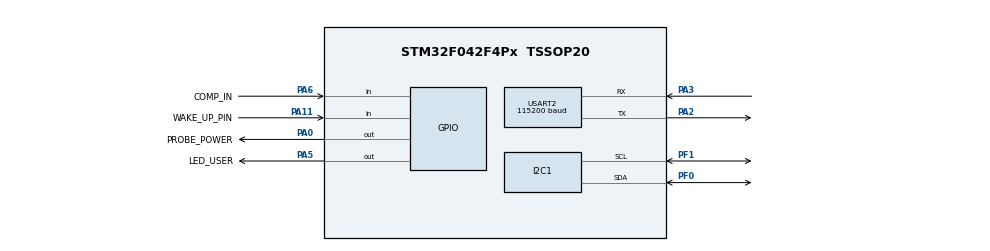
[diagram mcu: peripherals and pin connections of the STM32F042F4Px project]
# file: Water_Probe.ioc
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I2C1.I2C_Fall_Time=0
I2C1.I2C_Rise_Time=0
I2C1.Speed=40
I2C1.Timing=0x00103D84
Mcu.Family=STM32F0
Mcu.Name=STM32F042F4Px
Mcu.Package=TSSOP20
PA0.GPIO_Label=PROBE_POWER
PA0.Signal=GPIO_Output
PA11.GPIO_Label=WAKE_UP_PIN
PA11.Signal=GPIO_Input
PA13.Mode=Serial_Wire
PA13.Signal=SYS_SWDIO
PA14.Mode=Serial_Wire
PA14.Signal=SYS_SWCLK
PA2.Mode=Asynchronous
PA2.Signal=USART2_TX
PA3.Mode=Asynchronous
PA3.Signal=USART2_RX
PA5.GPIO_Label=LED_USER
PA5.Signal=GPIO_Output
PA6.GPIO_Label=COMP_IN
PA6.Signal=GPIO_Input
PF0-OSC_IN.Mode=I2C
PF0-OSC_IN.Signal=I2C1_SDA
PF1-OSC_OUT.Mode=I2C
PF1-OSC_OUT.Signal=I2C1_SCL
ProjectManager.HeapSize=0x200
ProjectManager.StackSize=0x400
ProjectManager.TargetToolchain=STM32CubeIDE
USART2.BaudRate=115200
USART2.VirtualMode-Asynchronous=VM_ASYNC
VP_SYS_VS_PINREMAP.Mode=PINREMAP
board=custom

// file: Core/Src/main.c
/* USER CODE BEGIN Header */
/**
  ******************************************************************************
  * @file           : main.c
  * @brief          : Main program body
  ******************************************************************************
  * @attention
  *
  * Copyright (c) 2024 STMicroelectronics.
  * All rights reserved.
  *
  * This software is licensed under terms that can be found in the LICENSE file
  * in the root directory of this software component.
  * If no LICENSE file comes with this software, it is provided AS-IS.
  *
  ******************************************************************************
  */
/* USER CODE END Header */
#include "main.h"

I2C_HandleTypeDef hi2c1;

UART_HandleTypeDef huart2;

/* USER CODE BEGIN PV */
/*
CAN_TxHeaderTypeDef   TxHeader;

CAN_FilterTypeDef canfilterconfig;

uint8_t               TxData[8];

uint32_t              TxMailbox;
*/
uint8_t				  buffer [10];

SHT4x_result	      results;

uint8_t buf[6];
	uint8_t command = HUMIDITY_COMMAND_HIGH_PRESS;
	SHT4x_result results;

	uint8_t checksum_t = 0;
	uint32_t t_ticks = 0;
	float t_degC = 0;
	float rh_pRH = 0;
	uint32_t rh_ticks = 0;
	uint8_t checksum_rh = 0;
	uint8_t ponor = 0;

/* USER CODE END PV */

void SystemClock_Config(void);
static void MX_GPIO_Init(void);
static void MX_I2C1_Init(void);
static void MX_USART2_UART_Init(void);

int main(void)
{

  /* MCU Configuration--------------------------------------------------------*/

  /* Reset of all peripherals, Initializes the Flash interface and the Systick. */
  HAL_Init();

  /* Configure the system clock */
  SystemClock_Config();

  /* Initialize all configured peripherals */
  MX_GPIO_Init();
  MX_I2C1_Init();
  MX_USART2_UART_Init();
  /* USER CODE BEGIN 2 */

/*
  TxHeader.IDE = CAN_ID_STD;
  TxHeader.StdId = 0x446;
  TxHeader.RTR = CAN_RTR_DATA;
  TxHeader.DLC = 2;

  TxData[0] = 50;
  TxData[1] = 0xAA;

  canfilterconfig.FilterActivation = CAN_FILTER_ENABLE;
  canfilterconfig.FilterBank = 18;  // which filter bank to use from the assigned ones
  canfilterconfig.FilterFIFOAssignment = CAN_FILTER_FIFO0;
  canfilterconfig.FilterIdHigh = 0x446<<5;
  canfilterconfig.FilterIdLow = 0;
  canfilterconfig.FilterMaskIdHigh = 0x446<<5;
  canfilterconfig.FilterMaskIdLow = 0x0000;
  canfilterconfig.FilterMode = CAN_FILTERMODE_IDMASK;
  canfilterconfig.FilterScale = CAN_FILTERSCALE_32BIT;
  canfilterconfig.SlaveStartFilterBank = 20;  // how many filters to assign to the CAN1 (master can)
  HAL_CAN_ConfigFilter(&hcan, &canfilterconfig);
*/

  /* USER CODE END 2 */

  /* Infinite loop */
  while (1)
  {

    /* USER CODE BEGIN 3 */
	  //reading data from SHT40
	  //soft reset
	  command = 0x94;
	  HAL_I2C_Master_Transmit(&hi2c1, SHT4x_ADDR, &command, 1, HAL_MAX_DELAY);
	  HAL_Delay(200);

	  //measure high precision
	  command = 0xFD;
	  HAL_I2C_Master_Transmit(&hi2c1, SHT4x_ADDR, &command, 1, HAL_MAX_DELAY);
	  HAL_Delay(200);
	  HAL_I2C_Master_Receive(&hi2c1, SHT4x_ADDR, buf, 6, HAL_MAX_DELAY);
	  //calculate temperature and humidity
	  t_ticks = buf[0]*256 + buf[1];
	  checksum_t = buf[2];
	  rh_ticks = buf[3] * 256 + buf[4];
	  checksum_rh = buf[5];
	  t_degC = -45.0f + 175.0f * (float)t_ticks/65535.0f;
	  rh_pRH = -6 + 125 * (float)rh_ticks/65535;

	  //fill the message buffer
	  buffer[0] = 84; // T
	  buffer[1] = (uint8_t)t_degC;
	  buffer[2] = 72; //H
	  buffer[3] = rh_pRH;

	  /*HAL_CAN_AddTxMessage(&hcan, &TxHeader, TxData, &TxMailbox);
	  HAL_CAN_SleepCallback(&hcan);
	  HAL_CAN_WakeUp(&hcan);
	  */

	  HAL_GPIO_WritePin(GPIOA, GPIO_PIN_0, GPIO_PIN_SET);
	  HAL_Delay(1000);
	  ponor = HAL_GPIO_ReadPin(GPIOA, GPIO_PIN_6);
	  buffer[4] = ponor;

	  HAL_UART_Transmit(&huart2,(uint8_t*)buffer, 5, HAL_MAX_DELAY);

	  HAL_GPIO_TogglePin(GPIOA, GPIO_PIN_5);
	  HAL_Delay(1000);

  }
  /* USER CODE END 3 */
}

void SystemClock_Config(void)
{
  RCC_OscInitTypeDef RCC_OscInitStruct = {0};
  RCC_ClkInitTypeDef RCC_ClkInitStruct = {0};
  RCC_PeriphCLKInitTypeDef PeriphClkInit = {0};

  /** Initializes the RCC Oscillators according to the specified parameters
  * in the RCC_OscInitTypeDef structure.
  */
  RCC_OscInitStruct.OscillatorType = RCC_OSCILLATORTYPE_HSI;
  RCC_OscInitStruct.HSIState = RCC_HSI_ON;
  RCC_OscInitStruct.HSICalibrationValue = RCC_HSICALIBRATION_DEFAULT;
  RCC_OscInitStruct.PLL.PLLState = RCC_PLL_NONE;
  if (HAL_RCC_OscConfig(&RCC_OscInitStruct) != HAL_OK)
  {
    Error_Handler();
  }

  /** Initializes the CPU, AHB and APB buses clocks
  */
  RCC_ClkInitStruct.ClockType = RCC_CLOCKTYPE_HCLK|RCC_CLOCKTYPE_SYSCLK
                              |RCC_CLOCKTYPE_PCLK1;
  RCC_ClkInitStruct.SYSCLKSource = RCC_SYSCLKSOURCE_HSI;
  RCC_ClkInitStruct.AHBCLKDivider = RCC_SYSCLK_DIV1;
  RCC_ClkInitStruct.APB1CLKDivider = RCC_HCLK_DIV1;

  if (HAL_RCC_ClockConfig(&RCC_ClkInitStruct, FLASH_LATENCY_0) != HAL_OK)
  {
    Error_Handler();
  }
  PeriphClkInit.PeriphClockSelection = RCC_PERIPHCLK_I2C1;
  PeriphClkInit.I2c1ClockSelection = RCC_I2C1CLKSOURCE_HSI;
  if (HAL_RCCEx_PeriphCLKConfig(&PeriphClkInit) != HAL_OK)
  {
    Error_Handler();
  }
}

static void MX_I2C1_Init(void)
{

  hi2c1.Instance = I2C1;
  hi2c1.Init.Timing = 0x00103D84;
  hi2c1.Init.OwnAddress1 = 0;
  hi2c1.Init.AddressingMode = I2C_ADDRESSINGMODE_7BIT;
  hi2c1.Init.DualAddressMode = I2C_DUALADDRESS_DISABLE;
  hi2c1.Init.OwnAddress2 = 0;
  hi2c1.Init.OwnAddress2Masks = I2C_OA2_NOMASK;
  hi2c1.Init.GeneralCallMode = I2C_GENERALCALL_DISABLE;
  hi2c1.Init.NoStretchMode = I2C_NOSTRETCH_DISABLE;
  if (HAL_I2C_Init(&hi2c1) != HAL_OK)
  {
    Error_Handler();
  }

  /** Configure Analogue filter
  */
  if (HAL_I2CEx_ConfigAnalogFilter(&hi2c1, I2C_ANALOGFILTER_ENABLE) != HAL_OK)
  {
    Error_Handler();
  }

  /** Configure Digital filter
  */
  if (HAL_I2CEx_ConfigDigitalFilter(&hi2c1, 0) != HAL_OK)
  {
    Error_Handler();
  }

}

static void MX_USART2_UART_Init(void)
{

  huart2.Instance = USART2;
  huart2.Init.BaudRate = 115200;
  huart2.Init.WordLength = UART_WORDLENGTH_8B;
  huart2.Init.StopBits = UART_STOPBITS_1;
  huart2.Init.Parity = UART_PARITY_NONE;
  huart2.Init.Mode = UART_MODE_TX_RX;
  huart2.Init.HwFlowCtl = UART_HWCONTROL_NONE;
  huart2.Init.OverSampling = UART_OVERSAMPLING_16;
  huart2.Init.OneBitSampling = UART_ONE_BIT_SAMPLE_DISABLE;
  huart2.AdvancedInit.AdvFeatureInit = UART_ADVFEATURE_NO_INIT;
  if (HAL_UART_Init(&huart2) != HAL_OK)
  {
    Error_Handler();
  }

}

static void MX_GPIO_Init(void)
{
  GPIO_InitTypeDef GPIO_InitStruct = {0};

  /* GPIO Ports Clock Enable */
  __HAL_RCC_GPIOF_CLK_ENABLE();
  __HAL_RCC_GPIOA_CLK_ENABLE();

  /*Configure GPIO pin Output Level */
  HAL_GPIO_WritePin(GPIOA, PROBE_POWER_Pin|LED_USER_Pin, GPIO_PIN_RESET);

  /*Configure GPIO pins : PROBE_POWER_Pin LED_USER_Pin */
  GPIO_InitStruct.Pin = PROBE_POWER_Pin|LED_USER_Pin;
  GPIO_InitStruct.Mode = GPIO_MODE_OUTPUT_PP;
  GPIO_InitStruct.Pull = GPIO_NOPULL;
  GPIO_InitStruct.Speed = GPIO_SPEED_FREQ_LOW;
  HAL_GPIO_Init(GPIOA, &GPIO_InitStruct);

  /*Configure GPIO pins : COMP_IN_Pin WAKE_UP_PIN_Pin */
  GPIO_InitStruct.Pin = COMP_IN_Pin|WAKE_UP_PIN_Pin;
  GPIO_InitStruct.Mode = GPIO_MODE_INPUT;
  GPIO_InitStruct.Pull = GPIO_NOPULL;
  HAL_GPIO_Init(GPIOA, &GPIO_InitStruct);

}

void Error_Handler(void)
{
  __disable_irq();
  while (1)
  {
  }
}
